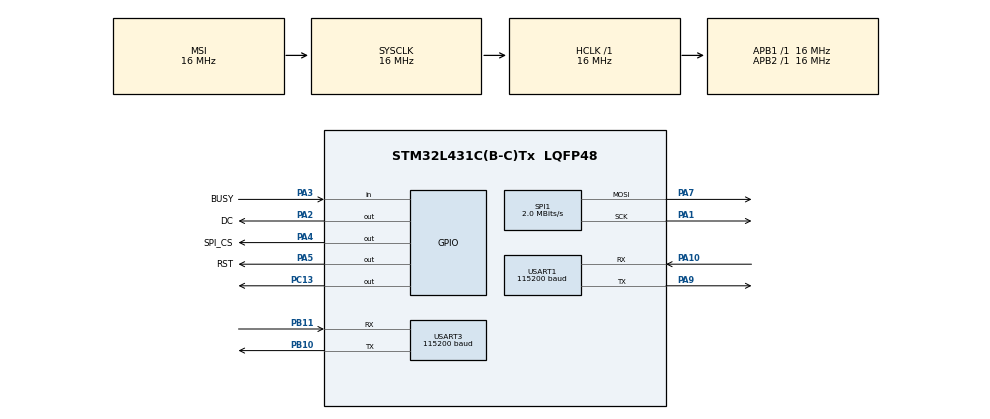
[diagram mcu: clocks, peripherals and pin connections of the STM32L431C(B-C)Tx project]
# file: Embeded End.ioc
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Dma.Request0=USART1_RX
Dma.Request1=USART1_TX
Dma.USART1_RX.0.Direction=DMA_PERIPH_TO_MEMORY
Dma.USART1_RX.0.Instance=DMA1_Channel5
Dma.USART1_RX.0.MemDataAlignment=DMA_MDATAALIGN_BYTE
Dma.USART1_RX.0.MemInc=DMA_MINC_ENABLE
Dma.USART1_RX.0.Mode=DMA_CIRCULAR
Dma.USART1_RX.0.PeriphDataAlignment=DMA_PDATAALIGN_BYTE
Dma.USART1_RX.0.PeriphInc=DMA_PINC_DISABLE
Dma.USART1_RX.0.Priority=DMA_PRIORITY_MEDIUM
Dma.USART1_TX.1.Direction=DMA_MEMORY_TO_PERIPH
Dma.USART1_TX.1.Instance=DMA1_Channel4
Dma.USART1_TX.1.MemDataAlignment=DMA_MDATAALIGN_BYTE
Dma.USART1_TX.1.MemInc=DMA_MINC_ENABLE
Dma.USART1_TX.1.Mode=DMA_NORMAL
Dma.USART1_TX.1.PeriphDataAlignment=DMA_PDATAALIGN_BYTE
Dma.USART1_TX.1.PeriphInc=DMA_PINC_DISABLE
Dma.USART1_TX.1.Priority=DMA_PRIORITY_LOW
FREERTOS.BinarySemaphores01=CalcSemaphore,Dynamic,NULL
FREERTOS.HEAP_NUMBER=4
FREERTOS.INCLUDE_eTaskGetState=1
FREERTOS.INCLUDE_pcTaskGetTaskName=0
FREERTOS.INCLUDE_uxTaskGetStackHighWaterMark=1
FREERTOS.INCLUDE_uxTaskGetStackHighWaterMark2=0
FREERTOS.INCLUDE_uxTaskPriorityGet=1
FREERTOS.INCLUDE_vTaskCleanUpResources=0
FREERTOS.INCLUDE_vTaskDelay=1
FREERTOS.INCLUDE_vTaskDelayUntil=1
FREERTOS.INCLUDE_vTaskDelete=1
FREERTOS.INCLUDE_vTaskPrioritySet=1
FREERTOS.INCLUDE_vTaskSuspend=1
FREERTOS.INCLUDE_xEventGroupSetBitFromISR=0
FREERTOS.INCLUDE_xQueueGetMutexHolder=1
FREERTOS.INCLUDE_xSemaphoreGetMutexHolder=0
FREERTOS.INCLUDE_xTaskAbortDelay=0
FREERTOS.INCLUDE_xTaskGetCurrentTaskHandle=1
FREERTOS.INCLUDE_xTaskGetHandle=0
FREERTOS.INCLUDE_xTaskGetSchedulerState=1
FREERTOS.INCLUDE_xTaskResumeFromISR=1
FREERTOS.INCLUDE_xTimerPendFunctionCall=1
FREERTOS.Queues01=QueueUARTToAllocator,100,uint8_t,0,Dynamic,NULL,NULL;QueueToUART,16,unsigned char *,0,Dynamic,NULL,NULL;QueueDecoderToProcessor,16,unsigned char *,0,Dynamic,NULL,NULL;QueueProcessorToScreen,2,struct Image,0,Dynamic,NULL,NULL;queue_event,4,uint8_t,0,Dynamic,NULL,NULL;queue_from_uart,3,uint32_t,0,Dynamic,NULL,NULL;queue_to_uart,3,uint32_t,0,Dynamic,NULL,NULL;queue_to_processor,3,uint32_t,0,Dynamic,NULL,NULL;queue_from_processor,3,uint32_t,0,Dynamic,NULL,NULL
FREERTOS.Tasks01=UARTDecoder,16,256,TaskUARTDecoder,As weak,NULL,Dynamic,NULL,NULL;ScreenRefresh,40,256,TaskScreenRefresh,As external,NULL,Dynamic,NULL,NULL;Calculation,8,128,TaskCalculation,As external,NULL,Dynamic,NULL,NULL;BlinkLED,48,256,TaskBlinkLED,As external,NULL,Dynamic,NULL,NULL;uarttx,32,128,UARTTx,As external,NULL,Dynamic,NULL,NULL;processor,8,128,TaskProcessor,As external,NULL,Dynamic,NULL,NULL;uart_control,8,128,TaskUARTControl,As external,NULL,Dynamic,NULL,NULL
FREERTOS.configCHECK_FOR_STACK_OVERFLOW=0
FREERTOS.configENABLE_BACKWARD_COMPATIBILITY=1
FREERTOS.configENABLE_FPU=0
FREERTOS.configGENERATE_RUN_TIME_STATS=0
FREERTOS.configIDLE_SHOULD_YIELD=1
FREERTOS.configLIBRARY_LOWEST_INTERRUPT_PRIORITY=15
FREERTOS.configLIBRARY_MAX_SYSCALL_INTERRUPT_PRIORITY=5
FREERTOS.configMAX_CO_ROUTINE_PRIORITIES=2
FREERTOS.configMAX_TASK_NAME_LEN=16
FREERTOS.configQUEUE_REGISTRY_SIZE=8
FREERTOS.configRECORD_STACK_HIGH_ADDRESS=0
FREERTOS.configTICK_RATE_HZ=1000
FREERTOS.configTIMER_QUEUE_LENGTH=10
FREERTOS.configTIMER_TASK_PRIORITY=2
FREERTOS.configTIMER_TASK_STACK_DEPTH=256
FREERTOS.configTOTAL_HEAP_SIZE=0x8000
FREERTOS.configUSE_APPLICATION_TASK_TAG=0
FREERTOS.configUSE_COUNTING_SEMAPHORES=1
FREERTOS.configUSE_CO_ROUTINES=0
FREERTOS.configUSE_DAEMON_TASK_STARTUP_HOOK=0
FREERTOS.configUSE_IDLE_HOOK=0
FREERTOS.configUSE_MALLOC_FAILED_HOOK=0
FREERTOS.configUSE_MUTEXES=1
FREERTOS.configUSE_NEWLIB_REENTRANT=0
FREERTOS.configUSE_POSIX_ERRNO=0
FREERTOS.configUSE_PREEMPTION=1
FREERTOS.configUSE_RECURSIVE_MUTEXES=1
FREERTOS.configUSE_STATS_FORMATTING_FUNCTIONS=0
FREERTOS.configUSE_TASK_NOTIFICATIONS=1
FREERTOS.configUSE_TICKLESS_IDLE=0
FREERTOS.configUSE_TICK_HOOK=0
FREERTOS.configUSE_TRACE_FACILITY=1
FREERTOS.copyHeapFile=1
IWDG.Prescaler=IWDG_PRESCALER_256
IWDG.Reload=500
Mcu.Family=STM32L4
Mcu.Name=STM32L431C(B-C)Tx
Mcu.Package=LQFP48
NVIC.DMA1_Channel4_IRQn=true\:5\:0\:false\:false\:true\:true\:false\:true
NVIC.DMA1_Channel5_IRQn=true\:5\:0\:false\:false\:true\:true\:false\:true
NVIC.PriorityGroup=NVIC_PRIORITYGROUP_4
NVIC.TIM1_UP_TIM16_IRQn=true\:0\:0\:false\:false\:true\:false\:false\:true
NVIC.TimeBase=TIM1_UP_TIM16_IRQn
NVIC.TimeBaseIP=TIM16
NVIC.USART1_IRQn=true\:5\:0\:false\:false\:true\:true\:true\:true
PA1.Mode=TX_Only_Simplex_Unidirect_Master
PA1.Signal=SPI1_SCK
PA10.Mode=Asynchronous
PA10.Signal=USART1_RX
PA13\ (JTMS-SWDIO).Mode=Serial_Wire
PA13\ (JTMS-SWDIO).Signal=SYS_JTMS-SWDIO
PA14\ (JTCK-SWCLK).Mode=Serial_Wire
PA14\ (JTCK-SWCLK).Signal=SYS_JTCK-SWCLK
PA2.GPIO_Label=DC
PA2.Signal=GPIO_Output
PA3.GPIO_Label=BUSY
PA3.Signal=GPIO_Input
PA4.GPIO_Label=SPI_CS
PA4.Signal=GPIO_Output
PA5.GPIO_Label=RST
PA5.Signal=GPIO_Output
PA7.Mode=TX_Only_Simplex_Unidirect_Master
PA7.Signal=SPI1_MOSI
PA9.Mode=Asynchronous
PA9.Signal=USART1_TX
PB10.Mode=Asynchronous
PB10.Signal=USART3_TX
PB11.Mode=Asynchronous
PB11.Signal=USART3_RX
PC13.GPIO_ModeDefaultOutputPP=GPIO_MODE_OUTPUT_PP
PC13.GPIO_PuPd=GPIO_PULLUP
PC13.GPIO_Speed=GPIO_SPEED_FREQ_LOW
PC13.PinState=GPIO_PIN_SET
PC13.Signal=GPIO_Output
ProjectManager.HeapSize=0x1000
ProjectManager.StackSize=0x1000
ProjectManager.TargetToolchain=MDK-ARM V5.27
RCC.ADCFreq_Value=64000000
RCC.AHBFreq_Value=16000000
RCC.APB1Freq_Value=16000000
RCC.APB1TimFreq_Value=16000000
RCC.APB2Freq_Value=16000000
RCC.APB2TimFreq_Value=16000000
RCC.CortexFreq_Value=16000000
RCC.HCLKFreq_Value=16000000
RCC.HSE_VALUE=8000000
RCC.HSI48_VALUE=48000000
RCC.HSI_VALUE=16000000
RCC.LSE_VALUE=32768
RCC.MSIClockRange=RCC_MSIRANGE_8
RCC.MSI_VALUE=16000000
RCC.SYSCLKFreq_VALUE=16000000
RCC.VCOOutputFreq_Value=128000000
SPI1.BaudRatePrescaler=SPI_BAUDRATEPRESCALER_8
SPI1.CLKPhase=SPI_PHASE_1EDGE
SPI1.CLKPolarity=SPI_POLARITY_LOW
SPI1.CRCCalculation=SPI_CRCCALCULATION_DISABLE
SPI1.CalculateBaudRate=2.0 MBits/s
SPI1.DataSize=SPI_DATASIZE_8BIT
SPI1.Direction=SPI_DIRECTION_2LINES
SPI1.FirstBit=SPI_FIRSTBIT_MSB
SPI1.Mode=SPI_MODE_MASTER
SPI1.NSS=SPI_NSS_SOFT
SPI1.NSSPMode=SPI_NSS_PULSE_ENABLE
SPI1.TIMode=SPI_TIMODE_DISABLE
SPI1.VirtualType=VM_MASTER
TIM7.Period=65535
TIM7.Prescaler=16
USART1.AutoBaudRateEnableParam=UART_ADVFEATURE_AUTOBAUDRATE_DISABLE
USART1.BaudRate=115200
USART1.DMADisableonRxErrorParam=ADVFEATURE_DMA_ENABLEONRXERROR
USART1.DataInvertParam=ADVFEATURE_DATAINV_DISABLE
USART1.MSBFirstParam=ADVFEATURE_MSBFIRST_DISABLE
USART1.Mode=MODE_TX_RX
USART1.OneBitSampling=UART_ONE_BIT_SAMPLE_DISABLE
USART1.OverSampling=UART_OVERSAMPLING_16
USART1.OverrunDisableParam=ADVFEATURE_OVERRUN_ENABLE
USART1.Parity=PARITY_NONE
USART1.RxPinLevelInvertParam=ADVFEATURE_RXINV_DISABLE
USART1.StopBits=STOPBITS_1
USART1.SwapParam=ADVFEATURE_SWAP_DISABLE
USART1.TxPinLevelInvertParam=ADVFEATURE_TXINV_DISABLE
USART1.VirtualMode-Asynchronous=VM_ASYNC
USART1.WordLength=WORDLENGTH_8B
USART3.AutoBaudRateEnableParam=UART_ADVFEATURE_AUTOBAUDRATE_DISABLE
USART3.BaudRate=115200
USART3.DMADisableonRxErrorParam=ADVFEATURE_DMA_ENABLEONRXERROR
USART3.DataInvertParam=ADVFEATURE_DATAINV_DISABLE
USART3.MSBFirstParam=ADVFEATURE_MSBFIRST_DISABLE
USART3.Mode=MODE_TX_RX
USART3.OneBitSampling=UART_ONE_BIT_SAMPLE_DISABLE
USART3.OverSampling=UART_OVERSAMPLING_16
USART3.OverrunDisableParam=ADVFEATURE_OVERRUN_ENABLE
USART3.Parity=PARITY_NONE
USART3.RxPinLevelInvertParam=ADVFEATURE_RXINV_DISABLE
USART3.StopBits=STOPBITS_1
USART3.SwapParam=ADVFEATURE_SWAP_DISABLE
USART3.TxPinLevelInvertParam=ADVFEATURE_TXINV_DISABLE
USART3.VirtualMode-Asynchronous=VM_ASYNC
USART3.WordLength=WORDLENGTH_8B
VP_FREERTOS_VS_CMSIS_V2.Mode=CMSIS_V2
VP_IWDG_VS_IWDG.Mode=IWDG_Activate
VP_SYS_VS_tim16.Mode=TIM16
VP_TIM7_VS_ClockSourceINT.Mode=Enable_Timer
board=custom

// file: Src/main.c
/* USER CODE BEGIN Header */
/**
  ******************************************************************************
  * @file           : main.c
  * @brief          : Main program body
  ******************************************************************************
  * @attention
  *
  * <h2><center>&copy; Copyright (c) 2021 STMicroelectronics.
  * All rights reserved.</center></h2>
  *
  * This software component is licensed by ST under BSD 3-Clause license,
  * the "License"; You may not use this file except in compliance with the
  * License. You may obtain a copy of the License at:
  *                        opensource.org/licenses/BSD-3-Clause
  *
  ******************************************************************************
  */
/* USER CODE END Header */
#include "main.h"
#include "cmsis_os.h"

/* USER CODE BEGIN Includes */
#include "stdio.h"
#include "queue.h"
#include "semphr.h"
#include "GUI_Paint.h"
//#include "EPD_Test.h"
#include "DEV_Config.h"
#include "EPD_1in54c.h"
//#include "parse_eval.c"
#include "expr.h"
#include "taskhandle.h"
#include "Debug.h"

//#define RECEIVING 1
//#define NOTRECEIVING 0

/* USER CODE END Includes */

IWDG_HandleTypeDef hiwdg;

SPI_HandleTypeDef hspi1;

TIM_HandleTypeDef htim7;

UART_HandleTypeDef huart1;
UART_HandleTypeDef huart3;
DMA_HandleTypeDef hdma_usart1_rx;
DMA_HandleTypeDef hdma_usart1_tx;

/* Definitions for UARTDecoder */
osThreadId_t UARTDecoderHandle;
const osThreadAttr_t UARTDecoder_attributes = {
  .name = "UARTDecoder",
  .stack_size = 256 * 4,
  .priority = (osPriority_t) osPriorityBelowNormal,
};
/* Definitions for ScreenRefresh */
osThreadId_t ScreenRefreshHandle;
const osThreadAttr_t ScreenRefresh_attributes = {
  .name = "ScreenRefresh",
  .stack_size = 256 * 4,
  .priority = (osPriority_t) osPriorityHigh,
};
/* Definitions for Calculation */
osThreadId_t CalculationHandle;
const osThreadAttr_t Calculation_attributes = {
  .name = "Calculation",
  .stack_size = 128 * 4,
  .priority = (osPriority_t) osPriorityLow,
};
/* Definitions for BlinkLED */
osThreadId_t BlinkLEDHandle;
const osThreadAttr_t BlinkLED_attributes = {
  .name = "BlinkLED",
  .stack_size = 256 * 4,
  .priority = (osPriority_t) osPriorityRealtime,
};
/* Definitions for uarttx */
osThreadId_t uarttxHandle;
const osThreadAttr_t uarttx_attributes = {
  .name = "uarttx",
  .stack_size = 128 * 4,
  .priority = (osPriority_t) osPriorityAboveNormal,
};
/* Definitions for processor */
osThreadId_t processorHandle;
const osThreadAttr_t processor_attributes = {
  .name = "processor",
  .stack_size = 128 * 4,
  .priority = (osPriority_t) osPriorityLow,
};
/* Definitions for uart_control */
osThreadId_t uart_controlHandle;
const osThreadAttr_t uart_control_attributes = {
  .name = "uart_control",
  .stack_size = 128 * 4,
  .priority = (osPriority_t) osPriorityLow,
};
/* Definitions for QueueUARTToAllocator */
osMessageQueueId_t QueueUARTToAllocatorHandle;
const osMessageQueueAttr_t QueueUARTToAllocator_attributes = {
  .name = "QueueUARTToAllocator"
};
/* Definitions for QueueToUART */
osMessageQueueId_t QueueToUARTHandle;
const osMessageQueueAttr_t QueueToUART_attributes = {
  .name = "QueueToUART"
};
/* Definitions for QueueDecoderToProcessor */
osMessageQueueId_t QueueDecoderToProcessorHandle;
const osMessageQueueAttr_t QueueDecoderToProcessor_attributes = {
  .name = "QueueDecoderToProcessor"
};
/* Definitions for QueueProcessorToScreen */
osMessageQueueId_t QueueProcessorToScreenHandle;
const osMessageQueueAttr_t QueueProcessorToScreen_attributes = {
  .name = "QueueProcessorToScreen"
};
/* Definitions for queue_event */
osMessageQueueId_t queue_eventHandle;
const osMessageQueueAttr_t queue_event_attributes = {
  .name = "queue_event"
};
/* Definitions for queue_from_uart */
osMessageQueueId_t queue_from_uartHandle;
const osMessageQueueAttr_t queue_from_uart_attributes = {
  .name = "queue_from_uart"
};
/* Definitions for queue_to_uart */
osMessageQueueId_t queue_to_uartHandle;
const osMessageQueueAttr_t queue_to_uart_attributes = {
  .name = "queue_to_uart"
};
/* Definitions for queue_to_processor */
osMessageQueueId_t queue_to_processorHandle;
const osMessageQueueAttr_t queue_to_processor_attributes = {
  .name = "queue_to_processor"
};
/* Definitions for queue_from_processor */
osMessageQueueId_t queue_from_processorHandle;
const osMessageQueueAttr_t queue_from_processor_attributes = {
  .name = "queue_from_processor"
};
/* Definitions for CalcSemaphore */
osSemaphoreId_t CalcSemaphoreHandle;
const osSemaphoreAttr_t CalcSemaphore_attributes = {
  .name = "CalcSemaphore"
};
/* USER CODE BEGIN PV */
#ifdef __GNUC__
#define PUTCHAR_PROTOTYPE int __io_putchar(int ch)
#else
#define PUTCHAR_PROTOTYPE int fputc(int ch, FILE *f)
#endif
PUTCHAR_PROTOTYPE
{
    //??????????huart3?????
    HAL_UART_Transmit(&huart3 , (uint8_t *)&ch, 1,100);
    return ch;
}

uint8_t UpperRx=0;
//UBYTE BlackImage[2888];
//UBYTE YellowImage[2888];
//UWORD Imagesize = ((EPD_1IN54C_WIDTH % 8 == 0)? (EPD_1IN54C_WIDTH / 8 ): (EPD_1IN54C_WIDTH / 8 + 1)) * EPD_1IN54C_HEIGHT;
//uint8_t DataBuffer[100];
/* USER CODE END PV */

void SystemClock_Config(void);
static void MX_GPIO_Init(void);
static void MX_DMA_Init(void);
static void MX_USART1_UART_Init(void);
static void MX_SPI1_Init(void);
static void MX_USART3_UART_Init(void);
static void MX_IWDG_Init(void);
static void MX_TIM7_Init(void);
void TaskUARTDecoder(void *argument);
extern void TaskScreenRefresh(void *argument);
extern void TaskCalculation(void *argument);
extern void TaskBlinkLED(void *argument);
extern void UARTTx(void *argument);
extern void TaskProcessor(void *argument);
extern void TaskUARTControl(void *argument);

int main(void)
{

  /* MCU Configuration--------------------------------------------------------*/

  /* Reset of all peripherals, Initializes the Flash interface and the Systick. */
  HAL_Init();

  /* Configure the system clock */
  SystemClock_Config();

  /* Initialize all configured peripherals */
  MX_GPIO_Init();
  MX_DMA_Init();
  MX_USART1_UART_Init();
  MX_SPI1_Init();
  MX_USART3_UART_Init();
  MX_IWDG_Init();
  MX_TIM7_Init();
  /* USER CODE BEGIN 2 */
	HAL_UART_Receive_DMA(&huart1,&UpperRx,1);// 启动DMA接收
	//DEV_Module_Init();//CS=0，DC=0，RST=1；
	HAL_TIM_Base_Start_IT(&htim7);
  /* USER CODE END 2 */

  /* Init scheduler */
  osKernelInitialize();

  /* Create the semaphores(s) */
  /* creation of CalcSemaphore */
  CalcSemaphoreHandle = osSemaphoreNew(1, 1, &CalcSemaphore_attributes);

  /* USER CODE BEGIN RTOS_SEMAPHORES */
  /* add semaphores, ... */
	xSemaphoreTake(CalcSemaphoreHandle,0); //刷掉初始信号量
  /* USER CODE END RTOS_SEMAPHORES */

  /* Create the queue(s) */
  /* creation of QueueUARTToAllocator */
  QueueUARTToAllocatorHandle = osMessageQueueNew (100, sizeof(uint8_t), &QueueUARTToAllocator_attributes);

  /* creation of QueueToUART */
  QueueToUARTHandle = osMessageQueueNew (16, sizeof(unsigned char *), &QueueToUART_attributes);

  /* creation of QueueDecoderToProcessor */
  QueueDecoderToProcessorHandle = osMessageQueueNew (16, sizeof(unsigned char *), &QueueDecoderToProcessor_attributes);

  /* creation of QueueProcessorToScreen */
  QueueProcessorToScreenHandle = osMessageQueueNew (2, sizeof(struct Image), &QueueProcessorToScreen_attributes);

  /* creation of queue_event */
  queue_eventHandle = osMessageQueueNew (4, sizeof(uint8_t), &queue_event_attributes);

  /* creation of queue_from_uart */
  queue_from_uartHandle = osMessageQueueNew (3, sizeof(uint32_t), &queue_from_uart_attributes);

  /* creation of queue_to_uart */
  queue_to_uartHandle = osMessageQueueNew (3, sizeof(uint32_t), &queue_to_uart_attributes);

  /* creation of queue_to_processor */
  queue_to_processorHandle = osMessageQueueNew (3, sizeof(uint32_t), &queue_to_processor_attributes);

  /* creation of queue_from_processor */
  queue_from_processorHandle = osMessageQueueNew (3, sizeof(uint32_t), &queue_from_processor_attributes);

  /* Create the thread(s) */
  /* creation of UARTDecoder */
  UARTDecoderHandle = osThreadNew(TaskUARTDecoder, NULL, &UARTDecoder_attributes);

  /* creation of ScreenRefresh */
  ScreenRefreshHandle = osThreadNew(TaskScreenRefresh, NULL, &ScreenRefresh_attributes);

  /* creation of Calculation */
  CalculationHandle = osThreadNew(TaskCalculation, NULL, &Calculation_attributes);

  /* creation of BlinkLED */
  BlinkLEDHandle = osThreadNew(TaskBlinkLED, NULL, &BlinkLED_attributes);

  /* creation of uarttx */
  uarttxHandle = osThreadNew(UARTTx, NULL, &uarttx_attributes);

  /* creation of processor */
  processorHandle = osThreadNew(TaskProcessor, NULL, &processor_attributes);

  /* creation of uart_control */
  uart_controlHandle = osThreadNew(TaskUARTControl, NULL, &uart_control_attributes);

  /* USER CODE BEGIN RTOS_THREADS */
  /* add threads, ... */
	Debug("Welcome!Potato Server Has Started!\r\n");
  /* USER CODE END RTOS_THREADS */

  /* Start scheduler */
  osKernelStart();

  /* We should never get here as control is now taken by the scheduler */
  /* Infinite loop */
  while (1)
  {

  }
}

void SystemClock_Config(void)
{
  RCC_OscInitTypeDef RCC_OscInitStruct = {0};
  RCC_ClkInitTypeDef RCC_ClkInitStruct = {0};

  /** Configure the main internal regulator output voltage
  */
  if (HAL_PWREx_ControlVoltageScaling(PWR_REGULATOR_VOLTAGE_SCALE1) != HAL_OK)
  {
    Error_Handler();
  }
  /** Initializes the RCC Oscillators according to the specified parameters
  * in the RCC_OscInitTypeDef structure.
  */
  RCC_OscInitStruct.OscillatorType = RCC_OSCILLATORTYPE_LSI|RCC_OSCILLATORTYPE_MSI;
  RCC_OscInitStruct.LSIState = RCC_LSI_ON;
  RCC_OscInitStruct.MSIState = RCC_MSI_ON;
  RCC_OscInitStruct.MSICalibrationValue = 0;
  RCC_OscInitStruct.MSIClockRange = RCC_MSIRANGE_8;
  RCC_OscInitStruct.PLL.PLLState = RCC_PLL_NONE;
  if (HAL_RCC_OscConfig(&RCC_OscInitStruct) != HAL_OK)
  {
    Error_Handler();
  }
  /** Initializes the CPU, AHB and APB buses clocks
  */
  RCC_ClkInitStruct.ClockType = RCC_CLOCKTYPE_HCLK|RCC_CLOCKTYPE_SYSCLK
                              |RCC_CLOCKTYPE_PCLK1|RCC_CLOCKTYPE_PCLK2;
  RCC_ClkInitStruct.SYSCLKSource = RCC_SYSCLKSOURCE_MSI;
  RCC_ClkInitStruct.AHBCLKDivider = RCC_SYSCLK_DIV1;
  RCC_ClkInitStruct.APB1CLKDivider = RCC_HCLK_DIV1;
  RCC_ClkInitStruct.APB2CLKDivider = RCC_HCLK_DIV1;

  if (HAL_RCC_ClockConfig(&RCC_ClkInitStruct, FLASH_LATENCY_0) != HAL_OK)
  {
    Error_Handler();
  }
}

static void MX_IWDG_Init(void)
{

  hiwdg.Instance = IWDG;
  hiwdg.Init.Prescaler = IWDG_PRESCALER_256;
  hiwdg.Init.Window = 4095;
  hiwdg.Init.Reload = 500;
  if (HAL_IWDG_Init(&hiwdg) != HAL_OK)
  {
    Error_Handler();
  }

}

static void MX_SPI1_Init(void)
{

  /* SPI1 parameter configuration*/
  hspi1.Instance = SPI1;
  hspi1.Init.Mode = SPI_MODE_MASTER;
  hspi1.Init.Direction = SPI_DIRECTION_2LINES;
  hspi1.Init.DataSize = SPI_DATASIZE_8BIT;
  hspi1.Init.CLKPolarity = SPI_POLARITY_LOW;
  hspi1.Init.CLKPhase = SPI_PHASE_1EDGE;
  hspi1.Init.NSS = SPI_NSS_SOFT;
  hspi1.Init.BaudRatePrescaler = SPI_BAUDRATEPRESCALER_8;
  hspi1.Init.FirstBit = SPI_FIRSTBIT_MSB;
  hspi1.Init.TIMode = SPI_TIMODE_DISABLE;
  hspi1.Init.CRCCalculation = SPI_CRCCALCULATION_DISABLE;
  hspi1.Init.CRCPolynomial = 7;
  hspi1.Init.CRCLength = SPI_CRC_LENGTH_DATASIZE;
  hspi1.Init.NSSPMode = SPI_NSS_PULSE_ENABLE;
  if (HAL_SPI_Init(&hspi1) != HAL_OK)
  {
    Error_Handler();
  }

}

static void MX_TIM7_Init(void)
{

  TIM_MasterConfigTypeDef sMasterConfig = {0};

  htim7.Instance = TIM7;
  htim7.Init.Prescaler = 16;
  htim7.Init.CounterMode = TIM_COUNTERMODE_UP;
  htim7.Init.Period = 65535;
  htim7.Init.AutoReloadPreload = TIM_AUTORELOAD_PRELOAD_DISABLE;
  if (HAL_TIM_Base_Init(&htim7) != HAL_OK)
  {
    Error_Handler();
  }
  sMasterConfig.MasterOutputTrigger = TIM_TRGO_RESET;
  sMasterConfig.MasterSlaveMode = TIM_MASTERSLAVEMODE_DISABLE;
  if (HAL_TIMEx_MasterConfigSynchronization(&htim7, &sMasterConfig) != HAL_OK)
  {
    Error_Handler();
  }

}

static void MX_USART1_UART_Init(void)
{

  huart1.Instance = USART1;
  huart1.Init.BaudRate = 115200;
  huart1.Init.WordLength = UART_WORDLENGTH_8B;
  huart1.Init.StopBits = UART_STOPBITS_1;
  huart1.Init.Parity = UART_PARITY_NONE;
  huart1.Init.Mode = UART_MODE_TX_RX;
  huart1.Init.HwFlowCtl = UART_HWCONTROL_NONE;
  huart1.Init.OverSampling = UART_OVERSAMPLING_16;
  huart1.Init.OneBitSampling = UART_ONE_BIT_SAMPLE_DISABLE;
  huart1.AdvancedInit.AdvFeatureInit = UART_ADVFEATURE_NO_INIT;
  if (HAL_UART_Init(&huart1) != HAL_OK)
  {
    Error_Handler();
  }

}

static void MX_USART3_UART_Init(void)
{

  huart3.Instance = USART3;
  huart3.Init.BaudRate = 115200;
  huart3.Init.WordLength = UART_WORDLENGTH_8B;
  huart3.Init.StopBits = UART_STOPBITS_1;
  huart3.Init.Parity = UART_PARITY_NONE;
  huart3.Init.Mode = UART_MODE_TX_RX;
  huart3.Init.HwFlowCtl = UART_HWCONTROL_NONE;
  huart3.Init.OverSampling = UART_OVERSAMPLING_16;
  huart3.Init.OneBitSampling = UART_ONE_BIT_SAMPLE_DISABLE;
  huart3.AdvancedInit.AdvFeatureInit = UART_ADVFEATURE_NO_INIT;
  if (HAL_UART_Init(&huart3) != HAL_OK)
  {
    Error_Handler();
  }

}

static void MX_DMA_Init(void)
{

  /* DMA controller clock enable */
  __HAL_RCC_DMA1_CLK_ENABLE();

  /* DMA interrupt init */
  /* DMA1_Channel4_IRQn interrupt configuration */
  HAL_NVIC_SetPriority(DMA1_Channel4_IRQn, 5, 0);
  HAL_NVIC_EnableIRQ(DMA1_Channel4_IRQn);
  /* DMA1_Channel5_IRQn interrupt configuration */
  HAL_NVIC_SetPriority(DMA1_Channel5_IRQn, 5, 0);
  HAL_NVIC_EnableIRQ(DMA1_Channel5_IRQn);

}

static void MX_GPIO_Init(void)
{
  GPIO_InitTypeDef GPIO_InitStruct = {0};

  /* GPIO Ports Clock Enable */
  __HAL_RCC_GPIOC_CLK_ENABLE();
  __HAL_RCC_GPIOA_CLK_ENABLE();
  __HAL_RCC_GPIOB_CLK_ENABLE();

  /*Configure GPIO pin Output Level */
  HAL_GPIO_WritePin(GPIOC, GPIO_PIN_13, GPIO_PIN_SET);

  /*Configure GPIO pin Output Level */
  HAL_GPIO_WritePin(GPIOA, DC_Pin|SPI_CS_Pin|RST_Pin, GPIO_PIN_RESET);

  /*Configure GPIO pin : PC13 */
  GPIO_InitStruct.Pin = GPIO_PIN_13;
  GPIO_InitStruct.Mode = GPIO_MODE_OUTPUT_PP;
  GPIO_InitStruct.Pull = GPIO_PULLUP;
  GPIO_InitStruct.Speed = GPIO_SPEED_FREQ_LOW;
  HAL_GPIO_Init(GPIOC, &GPIO_InitStruct);

  /*Configure GPIO pins : DC_Pin SPI_CS_Pin RST_Pin */
  GPIO_InitStruct.Pin = DC_Pin|SPI_CS_Pin|RST_Pin;
  GPIO_InitStruct.Mode = GPIO_MODE_OUTPUT_PP;
  GPIO_InitStruct.Pull = GPIO_NOPULL;
  GPIO_InitStruct.Speed = GPIO_SPEED_FREQ_LOW;
  HAL_GPIO_Init(GPIOA, &GPIO_InitStruct);

  /*Configure GPIO pin : BUSY_Pin */
  GPIO_InitStruct.Pin = BUSY_Pin;
  GPIO_InitStruct.Mode = GPIO_MODE_INPUT;
  GPIO_InitStruct.Pull = GPIO_NOPULL;
  HAL_GPIO_Init(BUSY_GPIO_Port, &GPIO_InitStruct);

}

/* USER CODE BEGIN 4 */
void HAL_UART_RxCpltCallback(UART_HandleTypeDef *huart)//串口回调函数
{
	//printf(" !$");
	 if(huart->Instance==USART1)//上位机信号
	{
		BaseType_t xHigherPriorityTaskWoken=pdFALSE;
		if(xQueueSendFromISR(QueueUARTToAllocatorHandle , &UpperRx, &xHigherPriorityTaskWoken )!=pdTRUE)printf("**@$$");
		portYIELD_FROM_ISR(xHigherPriorityTaskWoken);
	}
}
/* USER CODE END 4 */

__weak void TaskUARTDecoder(void *argument)
{
}

void HAL_TIM_PeriodElapsedCallback(TIM_HandleTypeDef *htim)
{
  if (htim->Instance == TIM16) {
    HAL_IncTick();
  }
}

void Error_Handler(void)
{
}

/************************ (C) COPYRIGHT STMicroelectronics *****END OF FILE****/
